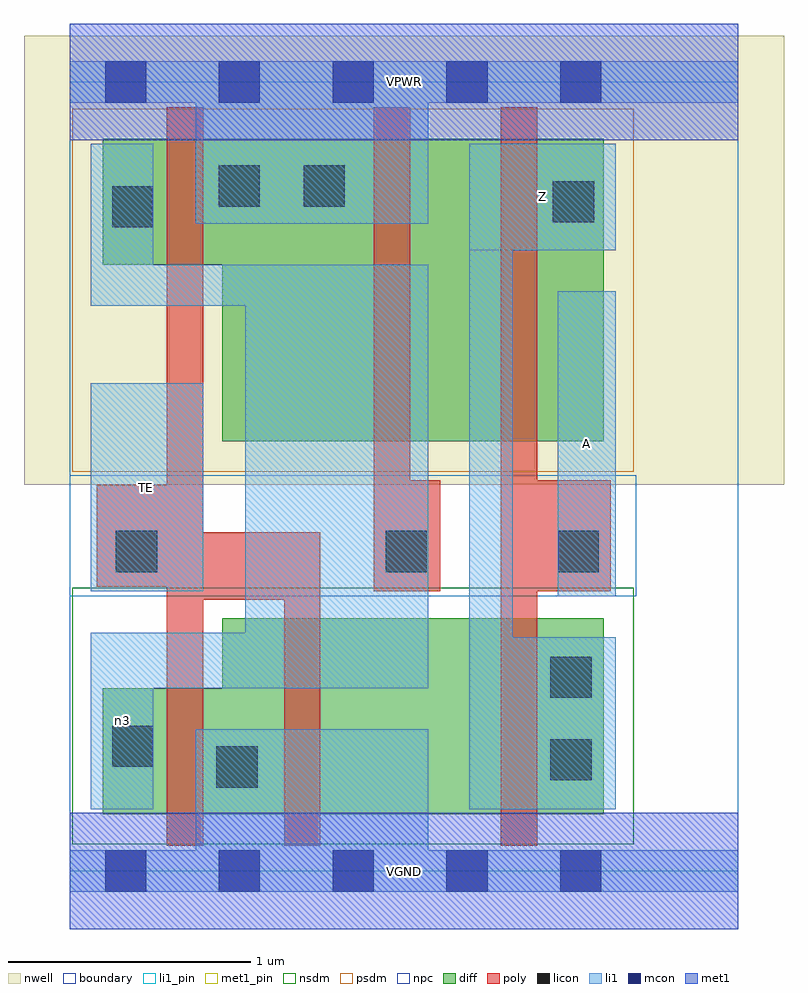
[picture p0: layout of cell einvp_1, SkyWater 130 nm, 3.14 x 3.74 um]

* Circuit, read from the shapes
.subckt einvp_1 A TE VGND VPWR Z n3
XM1 VGND TE n3 VSUBS sky130_fd_pr__nfet_01v8 w=0.52 l=0.15
XM2 n1 TE VGND VSUBS sky130_fd_pr__nfet_01v8 w=0.81 l=0.15
XM3 Z A n1 VSUBS sky130_fd_pr__nfet_01v8 w=0.81 l=0.15
XM4 VPWR TE n3 n2 sky130_fd_pr__pfet_01v8 w=0.52 l=0.15
XM5 n4 n3 VPWR n2 sky130_fd_pr__pfet_01v8 w=1.25 l=0.15
XM6 Z A n4 n2 sky130_fd_pr__pfet_01v8 w=1.25 l=0.15
.ends

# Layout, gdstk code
import gdstk
lib = gdstk.Library(unit=1e-6, precision=1e-09)
def R(c, l, rs):  # rectangles x0, y0, x1, y1
    for r in rs: c.add(gdstk.rectangle(r[:2], r[2:], *l))
def A(c, l, x, y, w, h, nx, ny, dx, dy):  # array of equal rectangles
    R(c, l, [(x+i*dx, y+j*dy, x+i*dx+w, y+j*dy+h) for i in range(nx) for j in range(ny)])
nwell = (64, 20)
diff = (65, 20)
poly = (66, 20)
licon = (66, 44)
li1_pin = (67, 16)
li1 = (67, 20)
mcon = (67, 44)
met1_pin = (68, 16)
met1 = (68, 20)
nsdm = (93, 44)
psdm = (94, 20)
npc = (95, 20)
boundary = (235, 4)

einvp_1 = lib.new_cell('einvp_1')
R(einvp_1, nwell, [(-0.19,1.595,2.95,3.45), (0,1.595,2.76,3.45)])
R(einvp_1, diff, [(0.135,0.235,2.205,0.755), (0.63,0.235,2.205,1.045), (0.63,1.775,2.205,3.025), (0.135,2.505,2.205,3.025)])
R(einvp_1, poly, [(0.4,0.105,0.55,3.155), (0.885,0.105,1.035,1.4), (1.78,0.105,1.93,3.155), (0.4,1.12,1.035,1.4), (1.255,1.155,1.405,3.155), (1.255,1.155,1.53,1.615), (1.78,1.155,2.235,1.615), (0.11,1.175,0.55,1.595)])
R(einvp_1, licon, [(0.605,0.345,0.775,0.515), (1.985,0.375,2.155,0.545), (0.175,0.43,0.345,0.6), (1.985,0.715,2.155,0.885), (0.19,1.235,0.36,1.405), (1.305,1.235,1.475,1.405), (2.015,1.235,2.185,1.405), (0.175,2.66,0.345,2.83), (1.995,2.68,2.165,2.85), (0.615,2.745,0.785,2.915), (0.965,2.745,1.135,2.915)])
R(einvp_1, li1_pin, [(2.015,1.135,2.255,2.395), (0.085,1.155,0.55,2.015), (1.65,2.565,2.255,3.005)])
R(einvp_1, li1, [(0,-0.085,2.76,0.085), (0.52,-0.085,1.48,0.585), (0.085,0.255,0.345,0.985), (1.65,0.255,1.83,3.005), (1.65,0.255,2.255,0.965), (0.085,0.755,1.48,0.985), (0.725,0.755,1.48,2.505), (2.015,1.135,2.255,2.395), (0.085,1.155,0.55,2.015), (0.085,2.335,0.345,3.005), (0.085,2.335,1.48,2.505), (1.65,2.565,2.255,3.005), (0.52,2.675,1.48,3.345), (0,3.175,2.76,3.345)])
A(einvp_1, mcon, 0.145, -0.085, 0.17, 0.17, 5, 2, 0.47, 3.26)
R(einvp_1, met1_pin, [(0,-0.24,2.76,0.24), (0,3.02,2.76,3.5)])
R(einvp_1, met1, [(0,-0.24,2.76,0.24), (0,3.02,2.76,3.5)])
R(einvp_1, nsdm, [(0.01,0.11,2.33,1.17)])
R(einvp_1, psdm, [(0.01,1.65,2.33,3.15)])
R(einvp_1, npc, [(0,1.135,2.34,1.635)])
R(einvp_1, boundary, [(0,0,2.76,3.26)])
einvp_1.add(gdstk.Label('A', (2.135,1.765), layer=67, texttype=5))
einvp_1.add(gdstk.Label('TE', (0.317,1.585), layer=67, texttype=5))
einvp_1.add(gdstk.Label('Z', (1.952,2.785), layer=67, texttype=5))
einvp_1.add(gdstk.Label('n3', (0.215,0.62), layer=67, texttype=5))
einvp_1.add(gdstk.Label('VPWR', (1.38,3.26), layer=68, texttype=5))
einvp_1.add(gdstk.Label('VGND', (1.38,0), layer=68, texttype=5))
einvp_1.add(gdstk.Label('A', (2.135,1.765), layer=67, texttype=16))
einvp_1.add(gdstk.Label('TE', (0.317,1.585), layer=67, texttype=16))
einvp_1.add(gdstk.Label('Z', (1.952,2.785), layer=67, texttype=16))
einvp_1.add(gdstk.Label('VPWR', (1.38,3.26), layer=68, texttype=16))
einvp_1.add(gdstk.Label('VGND', (1.38,0), layer=68, texttype=16))

lib.write_gds('einvp_1.gds')
